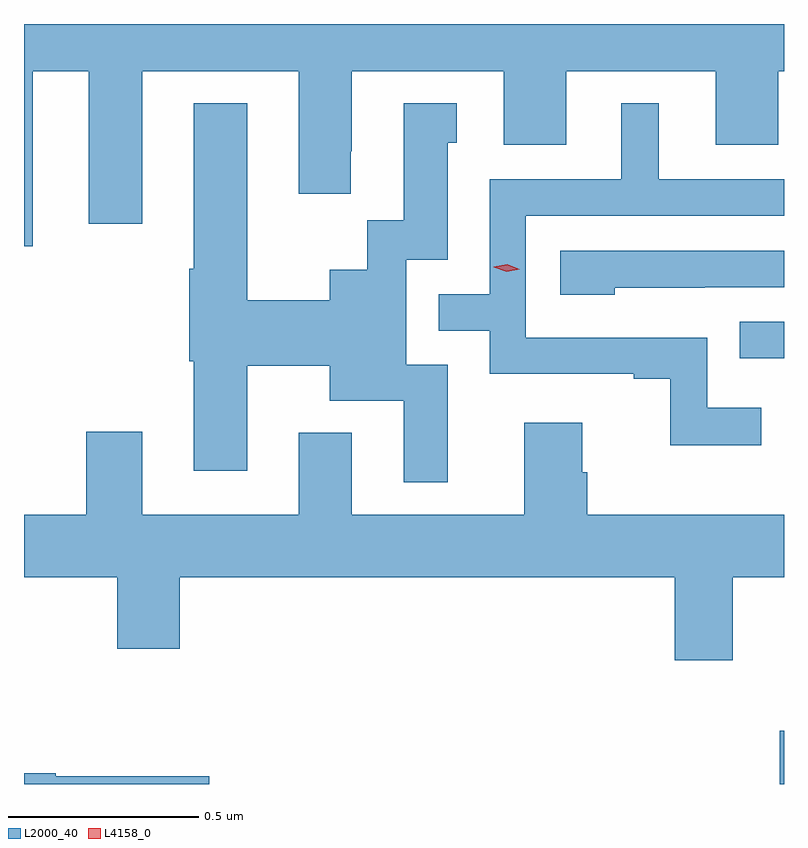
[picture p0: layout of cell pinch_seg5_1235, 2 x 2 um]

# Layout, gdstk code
import gdstk
lib = gdstk.Library(unit=1e-6, precision=1e-09)
def R(c, l, rs):  # rectangles x0, y0, x1, y1
    for r in rs: c.add(gdstk.rectangle(r[:2], r[2:], *l))
def P(c, l, *ps):  # polygons
    for p in ps: c.add(gdstk.Polygon(p, *l))
L2000_40 = (2000, 40)
L4158_0 = (4158, 0)

pinch_seg5_1235 = lib.new_cell('pinch_seg5_1235')
R(pinch_seg5_1235, L2000_40, [(550.367,906.832,550.378,906.972), (550.261,907.952,550.378,908.049)])
P(pinch_seg5_1235, L2000_40, [(548.401,908.708),(548.549,908.708),(548.549,908.307),(548.689,908.307),(548.689,908.708),(549.101,908.708),(549.101,908.385),(549.238,908.385),(549.238,908.497),(549.241,908.497),(549.241,908.708),(549.641,908.708),(549.641,908.514),(549.805,908.514),(549.805,908.708),(550.199,908.708),(550.199,908.514),(550.363,908.514),(550.363,908.708),(550.378,908.708),(550.378,908.832),(548.378,908.832),(548.378,908.247),(548.401,908.247)],
  [(550.318,907.822),(550.176,907.822),(550.176,908.007),(549.699,908.007),(549.699,908.328),(550.378,908.328),(550.378,908.424),(550.048,908.424),(550.048,908.623),(549.95,908.623),(549.95,908.424),(549.603,908.424),(549.603,908.121),(549.47,908.121),(549.47,908.025),(549.603,908.025),(549.603,907.911),(549.983,907.911),(549.983,907.899),(550.078,907.899),(550.078,907.724),(550.318,907.724)],
  [(549.493,907.935),(549.384,907.935),(549.384,908.211),(549.493,908.211),(549.493,908.52),(549.517,908.52),(549.517,908.623),(549.377,908.623),(549.377,908.316),(549.281,908.316),(549.281,908.185),(549.182,908.185),(549.182,908.105),(548.965,908.105),(548.965,908.623),(548.825,908.623),(548.825,908.188),(548.813,908.188),(548.813,907.944),(548.825,907.944),(548.825,907.656),(548.965,907.656),(548.965,907.933),(549.182,907.933),(549.182,907.841),(549.377,907.841),(549.377,907.626),(549.493,907.626)],
  [(549.933,908.138),(550.169,908.138),(550.169,908.139),(550.378,908.139),(550.378,908.235),(549.789,908.235),(549.789,908.12),(549.933,908.12)],
  [(550.243,907.376),(550.378,907.376),(550.378,907.54),(549.86,907.54),(549.86,907.653),(549.847,907.653),(549.847,907.783),(549.695,907.783),(549.695,907.54),(549.241,907.54),(549.241,907.756),(549.101,907.756),(549.101,907.54),(548.689,907.54),(548.689,907.759),(548.542,907.759),(548.542,907.54),(548.378,907.54),(548.378,907.376),(548.624,907.376),(548.624,907.188),(548.788,907.188),(548.788,907.376),(550.091,907.376),(550.091,907.158),(550.243,907.158)],
  [(548.866,906.853),(548.462,906.853),(548.462,906.86),(548.378,906.86),(548.378,906.832),(548.866,906.832)])
P(pinch_seg5_1235, L4158_0, [(549.648,908.18),(549.614,908.192),(549.614,908.193),(549.614,908.193),(549.65,908.2),(549.683,908.187),(549.683,908.187),(549.683,908.187)])

lib.write_gds('pinch_seg5_1235.gds')
